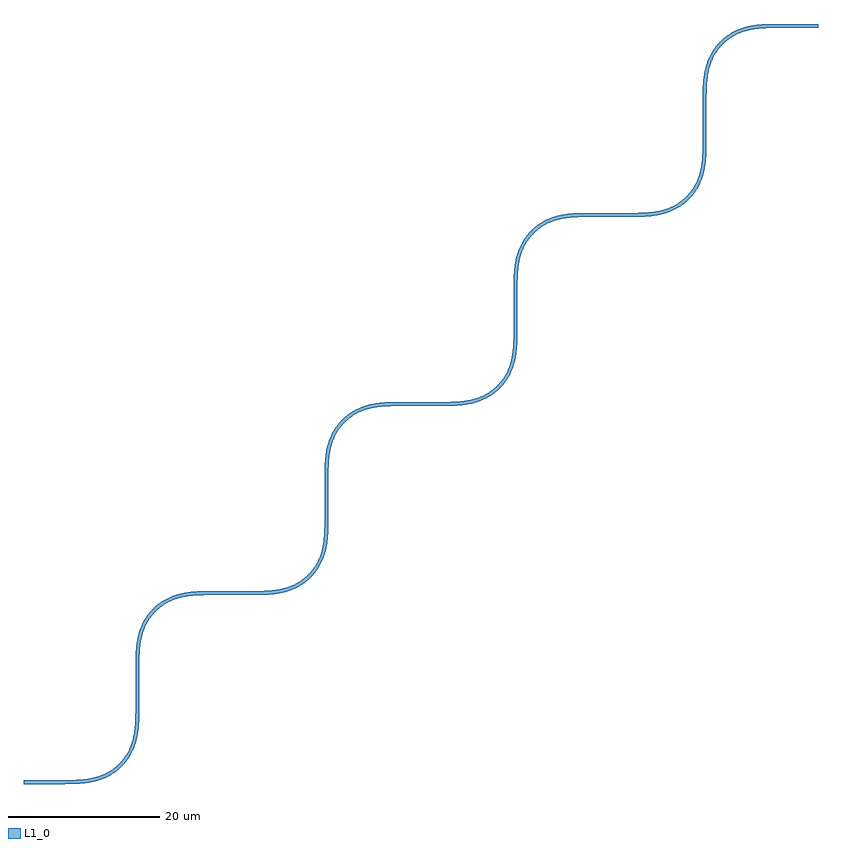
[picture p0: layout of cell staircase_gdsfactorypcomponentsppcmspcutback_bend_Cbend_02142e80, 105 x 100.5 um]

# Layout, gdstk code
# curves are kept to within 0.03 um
from math import pi, radians
import gdstk
lib = gdstk.Library(unit=1e-6, precision=1e-09)
def R(c, l, rs):  # rectangles x0, y0, x1, y1
    for r in rs: c.add(gdstk.rectangle(r[:2], r[2:], *l))
def P(c, l, *ps):  # polygons
    for p in ps: c.add(gdstk.Polygon(p, *l))
L1_0 = (1, 0)

straight_gdsfactorypcomp = lib.new_cell('straight_gdsfactorypcomponentspwaveguidespstraight_L5_N_32b584f5')
R(straight_gdsfactorypcomp, L1_0, [(0,-0.25,5,0.25)])

bend_euler_gdsfactorypco = lib.new_cell('bend_euler_gdsfactorypcomponentspbendspbend_euler_RNone_387600b2')
P(bend_euler_gdsfactorypco, L1_0, [(0,-0.25),(0,0.25),(1.655,0.269),(2.881,0.353),(3.952,0.52),(4.99,0.806),(5.731,1.113),(6.431,1.505),(7.079,1.976),(7.575,2.425),(8.024,2.921),(8.495,3.569),(8.887,4.269),(9.194,5.01),(9.48,6.048),(9.647,7.119),(9.731,8.345),(9.75,10),(10.25,10),(10.235,8.468),(10.158,7.205),(10.023,6.224),(9.797,5.254),(9.457,4.312),(9.066,3.545),(8.5,2.715),(7.928,2.072),(7.285,1.5),(6.455,0.934),(5.688,0.543),(4.746,0.203),(3.776,-0.023),(2.795,-0.158),(1.532,-0.235)])

staircase_gdsfactorypcom = lib.new_cell('staircase_gdsfactorypcomponentsppcmspcutback_bend_Cbend_02142e80')
staircase_gdsfactorypcom.add(gdstk.Reference(straight_gdsfactorypcomp, (0,0)))
staircase_gdsfactorypcom.add(gdstk.Reference(bend_euler_gdsfactorypco, (5,0)))
staircase_gdsfactorypcom.add(gdstk.Reference(straight_gdsfactorypcomp, (15,10), rotation=pi/2))
staircase_gdsfactorypcom.add(gdstk.Reference(bend_euler_gdsfactorypco, (25,25), rotation=pi))
staircase_gdsfactorypcom.add(gdstk.Reference(straight_gdsfactorypcomp, (25,25)))
staircase_gdsfactorypcom.add(gdstk.Reference(bend_euler_gdsfactorypco, (30,25)))
staircase_gdsfactorypcom.add(gdstk.Reference(straight_gdsfactorypcomp, (40,35), rotation=pi/2))
staircase_gdsfactorypcom.add(gdstk.Reference(bend_euler_gdsfactorypco, (50,50), rotation=pi))
staircase_gdsfactorypcom.add(gdstk.Reference(straight_gdsfactorypcomp, (50,50)))
staircase_gdsfactorypcom.add(gdstk.Reference(bend_euler_gdsfactorypco, (55,50)))
staircase_gdsfactorypcom.add(gdstk.Reference(straight_gdsfactorypcomp, (65,60), rotation=pi/2))
staircase_gdsfactorypcom.add(gdstk.Reference(bend_euler_gdsfactorypco, (75,75), rotation=pi))
staircase_gdsfactorypcom.add(gdstk.Reference(straight_gdsfactorypcomp, (75,75)))
staircase_gdsfactorypcom.add(gdstk.Reference(bend_euler_gdsfactorypco, (80,75)))
staircase_gdsfactorypcom.add(gdstk.Reference(straight_gdsfactorypcomp, (90,85), rotation=pi/2))
staircase_gdsfactorypcom.add(gdstk.Reference(bend_euler_gdsfactorypco, (100,100), rotation=pi))
staircase_gdsfactorypcom.add(gdstk.Reference(straight_gdsfactorypcomp, (100,100)))

lib.write_gds('staircase_gdsfactorypcomponentsppcmspcutback_bend_Cbend_02142e80.gds')
